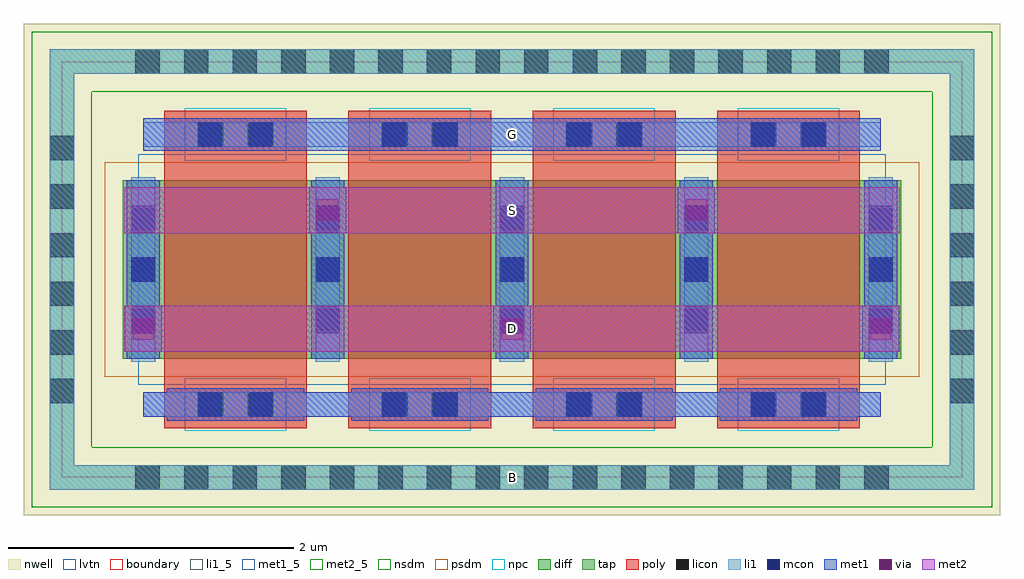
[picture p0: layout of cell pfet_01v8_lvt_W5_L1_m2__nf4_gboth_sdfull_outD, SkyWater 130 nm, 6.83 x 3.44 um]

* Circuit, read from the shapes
.subckt pfet_01v8_lvt_W5_L1_m2__nf4_gboth_sdfull_outD B D G S
XM1 S G D B sky130_fd_pr__pfet_01v8_lvt w=1.25 l=1 m=4
.ends

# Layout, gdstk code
import gdstk
lib = gdstk.Library(unit=1e-6, precision=1e-09)
def R(c, l, rs):  # rectangles x0, y0, x1, y1
    for r in rs: c.add(gdstk.rectangle(r[:2], r[2:], *l))
def A(c, l, x, y, w, h, nx, ny, dx, dy):  # array of equal rectangles
    R(c, l, [(x+i*dx, y+j*dy, x+i*dx+w, y+j*dy+h) for i in range(nx) for j in range(ny)])
nwell = (64, 20)
diff = (65, 20)
tap = (65, 44)
poly = (66, 20)
licon = (66, 44)
li1_5 = (67, 5)
li1 = (67, 20)
mcon = (67, 44)
met1_5 = (68, 5)
met1 = (68, 20)
via = (68, 44)
met2_5 = (69, 5)
met2 = (69, 20)
nsdm = (93, 44)
psdm = (94, 20)
npc = (95, 20)
lvtn = (125, 44)
boundary = (235, 4)

sky130_fd_pr__pfet_01v8_ = lib.new_cell('sky130_fd_pr__pfet_01v8_lvt_595WRR')
R(sky130_fd_pr__pfet_01v8_, nwell, [(-3.415,-1.72,3.415,1.72)])
R(sky130_fd_pr__pfet_01v8_, diff, [(-2.725,-0.625,2.725,0.625)])
R(sky130_fd_pr__pfet_01v8_, tap, [(-3.235,-1.54,3.235,-1.37), (-3.235,-1.37,-3.065,1.37), (3.065,-1.37,3.235,1.37), (-3.235,1.37,3.235,1.54)])
A(sky130_fd_pr__pfet_01v8_, poly, -2.435, -1.11, 1, 2.22, 4, 1, 1.29, 0)
A(sky130_fd_pr__pfet_01v8_, licon, -2.635, -1.54, 0.17, 0.17, 16, 2, 0.34, 2.91)
A(sky130_fd_pr__pfet_01v8_, licon, -3.235, -0.935, 0.17, 0.17, 1, 6, 0, 0.34)
A(sky130_fd_pr__pfet_01v8_, licon, 3.065, -0.935, 0.17, 0.17, 1, 6, 0, 0.34)
A(sky130_fd_pr__pfet_01v8_, licon, -2.665, -0.425, 0.17, 0.17, 5, 3, 1.29, 0.34)
R(sky130_fd_pr__pfet_01v8_, licon, [(-2.19,-1.03,-2.02,-0.86), (-1.85,-1.03,-1.68,-0.86), (-0.9,-1.03,-0.73,-0.86), (-0.56,-1.03,-0.39,-0.86), (0.39,-1.03,0.56,-0.86), (0.73,-1.03,0.9,-0.86), (1.68,-1.03,1.85,-0.86), (2.02,-1.03,2.19,-0.86), (-2.19,0.86,-2.02,1.03), (-1.85,0.86,-1.68,1.03), (-0.9,0.86,-0.73,1.03), (-0.56,0.86,-0.39,1.03), (0.39,0.86,0.56,1.03), (0.73,0.86,0.9,1.03), (1.68,0.86,1.85,1.03), (2.02,0.86,2.19,1.03)])
A(sky130_fd_pr__pfet_01v8_, li1, -2.665, -0.645, 0.17, 1.29, 5, 1, 1.29, 0)
R(sky130_fd_pr__pfet_01v8_, li1, [(-3.235,-1.54,3.235,-1.37), (-3.235,-1.37,-3.065,1.37), (3.065,-1.37,3.235,1.37), (-2.58,-1.03,2.58,-0.86), (-2.58,0.86,2.58,1.03), (-3.235,1.37,3.235,1.54)])
A(sky130_fd_pr__pfet_01v8_, mcon, -2.665, -0.445, 0.17, 0.17, 5, 3, 1.29, 0.36)
R(sky130_fd_pr__pfet_01v8_, mcon, [(-2.2,-1.03,-2.03,-0.86), (-1.84,-1.03,-1.67,-0.86), (-0.91,-1.03,-0.74,-0.86), (-0.55,-1.03,-0.38,-0.86), (0.38,-1.03,0.55,-0.86), (0.74,-1.03,0.91,-0.86), (1.67,-1.03,1.84,-0.86), (2.03,-1.03,2.2,-0.86), (-2.2,0.86,-2.03,1.03), (-1.84,0.86,-1.67,1.03), (-0.91,0.86,-0.74,1.03), (-0.55,0.86,-0.38,1.03), (0.38,0.86,0.55,1.03), (0.74,0.86,0.91,1.03), (1.67,0.86,1.84,1.03), (2.03,0.86,2.2,1.03)])
A(sky130_fd_pr__pfet_01v8_, met1, -2.415, -1.06, 0.96, 0.03, 4, 2, 1.29, 0.2)
A(sky130_fd_pr__pfet_01v8_, met1, -2.695, -0.625, 0.23, 1.25, 5, 1, 1.29, 0)
A(sky130_fd_pr__pfet_01v8_, met1, -2.415, 0.83, 0.96, 0.03, 4, 2, 1.29, 0.2)
R(sky130_fd_pr__pfet_01v8_, met1, [(-2.58,-1.03,2.58,-0.86), (-2.58,0.86,2.58,1.03)])
R(sky130_fd_pr__pfet_01v8_, nsdm, [(-3.36,-1.665,3.36,-1.245), (-3.36,-1.245,-2.94,1.245), (2.94,-1.245,3.36,1.245), (-3.36,1.245,3.36,1.665)])
R(sky130_fd_pr__pfet_01v8_, psdm, [(-2.85,-0.75,2.85,0.75)])
A(sky130_fd_pr__pfet_01v8_, npc, -2.29, -1.13, 0.71, 0.37, 4, 2, 1.29, 1.89)
R(sky130_fd_pr__pfet_01v8_, lvtn, [(-2.615,-0.805,2.615,0.805)])
R(sky130_fd_pr__pfet_01v8_, boundary, [(-3.15,-1.455,3.15,1.455)])
sky130_fd_pr__pfet_01v8_.add(gdstk.Label('B', (0,-1.455), layer=67, texttype=5))
sky130_fd_pr__pfet_01v8_.add(gdstk.Label('D0', (-2.58,0), layer=67, texttype=5))
sky130_fd_pr__pfet_01v8_.add(gdstk.Label('G', (1.935,0.945), layer=67, texttype=5))
sky130_fd_pr__pfet_01v8_.add(gdstk.Label('G', (0.645,0.945), layer=67, texttype=5))
sky130_fd_pr__pfet_01v8_.add(gdstk.Label('G', (-0.645,0.945), layer=67, texttype=5))
sky130_fd_pr__pfet_01v8_.add(gdstk.Label('G', (-1.935,0.945), layer=67, texttype=5))
sky130_fd_pr__pfet_01v8_.add(gdstk.Label('S1', (-1.29,0), layer=67, texttype=5))
sky130_fd_pr__pfet_01v8_.add(gdstk.Label('D2', (0,0), layer=67, texttype=5))
sky130_fd_pr__pfet_01v8_.add(gdstk.Label('S3', (1.29,0), layer=67, texttype=5))

pfet_01v8_lvt_w5_l1_m2__ = lib.new_cell('pfet_01v8_lvt_W5_L1_m2__nf4_gboth_sdfull_outD')
R(pfet_01v8_lvt_w5_l1_m2__, li1_5, [(3.065,-0.085,3.235,0.085)])
R(pfet_01v8_lvt_w5_l1_m2__, li1, [(3.065,-0.085,3.235,0.085)])
R(pfet_01v8_lvt_w5_l1_m2__, met1_5, [(0.57,2.285,5.73,2.515)])
A(pfet_01v8_lvt_w5_l1_m2__, met1, 0.44, 0.88, 0.26, 0.32, 3, 1, 2.58, 0)
R(pfet_01v8_lvt_w5_l1_m2__, met1, [(1.73,1.71,1.99,2.03), (4.31,1.71,4.57,2.03), (0.57,2.285,5.73,2.515)])
A(pfet_01v8_lvt_w5_l1_m2__, via, 0.495, 0.965, 0.15, 0.15, 3, 1, 2.58, 0)
R(pfet_01v8_lvt_w5_l1_m2__, via, [(1.785,1.795,1.935,1.945), (4.365,1.795,4.515,1.945)])
R(pfet_01v8_lvt_w5_l1_m2__, met2_5, [(0.435,0.88,5.865,1.2), (0.435,1.71,5.865,2.03)])
R(pfet_01v8_lvt_w5_l1_m2__, met2, [(0.435,0.88,5.865,1.2), (0.435,1.71,5.865,2.03)])
pfet_01v8_lvt_w5_l1_m2__.add(gdstk.Reference(sky130_fd_pr__pfet_01v8_, (3.15,1.455)))
pfet_01v8_lvt_w5_l1_m2__.add(gdstk.Label('S', (3.15,1.87), layer=69, texttype=5))
pfet_01v8_lvt_w5_l1_m2__.add(gdstk.Label('D', (3.15,1.04), layer=69, texttype=5))
pfet_01v8_lvt_w5_l1_m2__.add(gdstk.Label('G', (3.15,2.4), layer=68, texttype=5))
pfet_01v8_lvt_w5_l1_m2__.add(gdstk.Label('B', (3.15,0), layer=67, texttype=5))

lib.write_gds('pfet_01v8_lvt_W5_L1_m2__nf4_gboth_sdfull_outD.gds')
